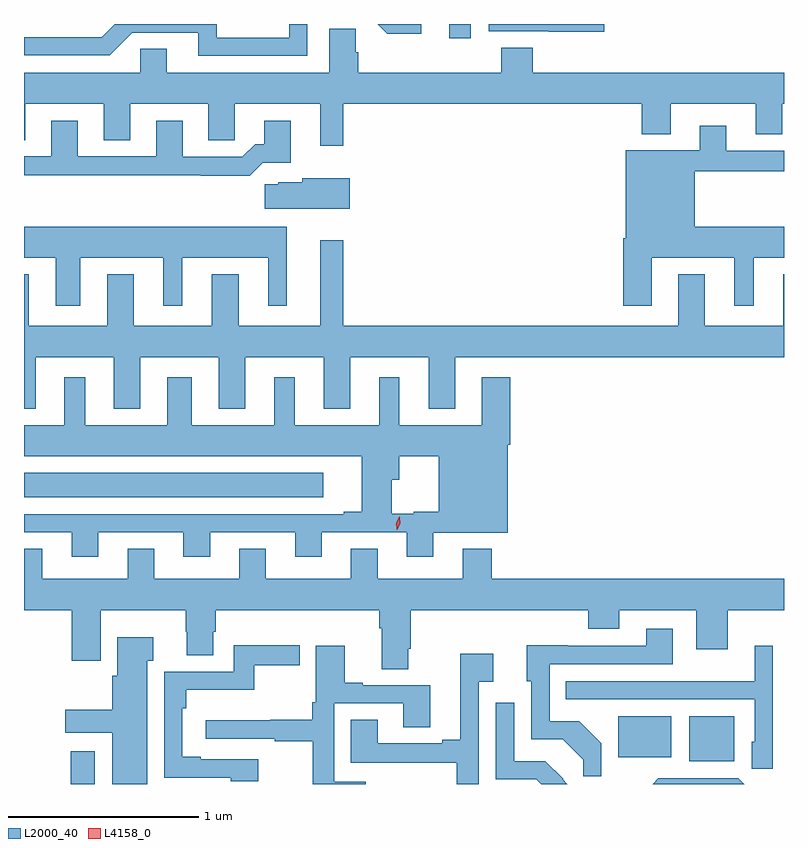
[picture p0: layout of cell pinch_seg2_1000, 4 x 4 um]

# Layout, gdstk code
import gdstk
lib = gdstk.Library(unit=1e-6, precision=1e-09)
def R(c, l, rs):  # rectangles x0, y0, x1, y1
    for r in rs: c.add(gdstk.rectangle(r[:2], r[2:], *l))
def P(c, l, *ps):  # polygons
    for p in ps: c.add(gdstk.Polygon(p, *l))
L2000_40 = (2000, 40)
L4158_0 = (4158, 0)

pinch_seg2_1000 = lib.new_cell('pinch_seg2_1000')
R(pinch_seg2_1000, L2000_40, [(338.525,610.757,338.653,610.93), (341.78,610.877,342.019,611.113), (341.408,610.898,341.686,611.113), (338.28,612.266,339.856,612.394), (340.517,614.682,340.632,614.757)])
P(pinch_seg2_1000, L2000_40, [(339.771,614.757),(339.675,614.757),(339.675,614.685),(339.294,614.685),(339.294,614.757),(338.757,614.757),(338.688,614.688),(338.28,614.688),(338.28,614.592),(338.73,614.592),(338.85,614.712),(339.197,614.712),(339.197,614.589),(339.771,614.589)],
  [(341.333,614.757),(340.725,614.757),(340.725,614.718),(341.041,614.718),(341.041,614.717),(341.333,614.717)],
  [(340.372,614.757),(340.141,614.757),(340.193,614.705),(340.372,614.705)],
  [(339.251,614.146),(339.39,614.146),(339.39,614.336),(339.839,614.336),(339.839,614.115),(339.961,614.115),(339.961,614.336),(341.531,614.336),(341.531,614.177),(341.683,614.177),(341.683,614.336),(342.131,614.336),(342.131,614.176),(342.271,614.176),(342.271,614.336),(342.28,614.336),(342.28,614.5),(340.958,614.5),(340.958,614.633),(340.793,614.633),(340.793,614.5),(340.04,614.5),(340.04,614.609),(340.026,614.609),(340.026,614.732),(339.887,614.732),(339.887,614.5),(339.031,614.5),(339.031,614.627),(338.892,614.627),(338.892,614.5),(338.28,614.5),(338.28,614.146),(338.287,614.146),(338.287,614.336),(338.699,614.336),(338.699,614.146),(338.839,614.146),(338.839,614.336),(339.251,614.336)],
  [(339.537,614.028),(339.685,614.028),(339.685,614.248),(339.545,614.248),(339.545,614.125),(339.496,614.125),(339.429,614.058),(339.115,614.058),(339.115,614.248),(338.975,614.248),(338.975,614.061),(338.563,614.061),(338.563,614.248),(338.423,614.248),(338.423,614.061),(338.28,614.061),(338.28,613.96),(339.211,613.96),(339.211,613.958),(339.467,613.958)],
  [(341.584,613.526),(342.017,613.526),(342.017,613.275),(342.121,613.275),(342.121,613.526),(342.28,613.526),(342.28,613.69),(341.809,613.69),(341.809,613.983),(342.28,613.983),(342.28,614.091),(341.977,614.091),(341.977,614.221),(341.837,614.221),(341.837,614.092),(341.447,614.092),(341.447,613.63),(341.435,613.63),(341.435,613.275),(341.584,613.275)],
  [(339.994,613.945),(339.744,613.945),(339.744,613.924),(339.618,613.924),(339.618,613.913),(339.546,613.913),(339.546,613.784),(339.994,613.784)],
  [(338.575,613.526),(339.014,613.526),(339.014,613.275),(339.112,613.275),(339.112,613.526),(339.566,613.526),(339.566,613.275),(339.664,613.275),(339.664,613.69),(338.28,613.69),(338.28,613.526),(338.447,613.526),(338.447,613.275),(338.575,613.275)],
  [(338.341,613.004),(338.753,613.004),(338.753,612.731),(338.893,612.731),(338.893,613.004),(339.305,613.004),(339.305,612.731),(339.445,612.731),(339.445,613.004),(339.857,613.004),(339.857,612.731),(339.997,612.731),(339.997,613.004),(340.409,613.004),(340.409,612.731),(340.549,612.731),(340.549,613.004),(342.28,613.004),(342.28,613.441),(342.275,613.441),(342.275,613.168),(341.863,613.168),(341.863,613.441),(341.723,613.441),(341.723,613.168),(339.961,613.168),(339.961,613.618),(339.839,613.618),(339.839,613.168),(339.409,613.168),(339.409,613.441),(339.269,613.441),(339.269,613.168),(338.857,613.168),(338.857,613.441),(338.717,613.441),(338.717,613.168),(338.305,613.168),(338.305,613.441),(338.28,613.441),(338.28,612.731),(338.341,612.731)],
  [(338.28,612.177),(338.28,612.081),(338.531,612.081),(338.531,611.952),(338.671,611.952),(338.671,612.081),(339.119,612.081),(339.119,611.952),(339.259,611.952),(339.259,612.081),(339.707,612.081),(339.707,611.952),(339.847,611.952),(339.847,612.081),(340.295,612.081),(340.295,611.952),(340.435,611.952),(340.435,612.08),(340.825,612.08),(340.825,612.542),(340.838,612.542),(340.838,612.898),(340.688,612.898),(340.688,612.646),(340.255,612.646),(340.255,612.898),(340.151,612.898),(340.151,612.646),(339.706,612.646),(339.706,612.898),(339.596,612.898),(339.596,612.646),(339.163,612.646),(339.163,612.898),(339.035,612.898),(339.035,612.646),(338.602,612.646),(338.602,612.898),(338.492,612.898),(338.492,612.646),(338.28,612.646),(338.28,612.482),(340.058,612.482),(340.058,612.19),(339.962,612.19),(339.962,612.179),(340.216,612.179),(340.216,612.359),(340.255,612.359),(340.255,612.482),(340.463,612.482),(340.463,612.19),(340.331,612.19),(340.331,612.179),(340.216,612.179),(339.962,612.179),(339.962,612.177)],
  [(340.303,611.47),(340.316,611.47),(340.316,611.672),(341.249,611.672),(341.249,611.573),(341.413,611.573),(341.413,611.672),(341.819,611.672),(341.819,611.466),(341.983,611.466),(341.983,611.672),(342.28,611.672),(342.28,611.836),(340.742,611.836),(340.742,611.995),(340.589,611.995),(340.589,611.836),(340.141,611.836),(340.141,611.996),(340.001,611.996),(340.001,611.836),(339.553,611.836),(339.553,611.996),(339.413,611.996),(339.413,611.836),(338.965,611.836),(338.965,611.996),(338.825,611.996),(338.825,611.836),(338.377,611.836),(338.377,611.996),(338.28,611.996),(338.28,611.672),(338.531,611.672),(338.531,611.406),(338.683,611.406),(338.683,611.672),(339.13,611.672),(339.13,611.559),(339.137,611.559),(339.137,611.434),(339.277,611.434),(339.277,611.559),(339.29,611.559),(339.29,611.672),(340.151,611.672),(340.151,611.576),(340.163,611.576),(340.163,611.362),(340.303,611.362)],
  [(341.319,610.972),(341.203,611.088),(341.046,611.088),(341.046,611.388),(341.695,611.388),(341.695,611.575),(341.555,611.575),(341.555,611.484),(341.143,611.484),(341.143,611.486),(340.925,611.486),(340.925,611.298),(340.95,611.298),(340.95,610.992),(341.116,610.992),(341.224,610.884),(341.224,610.797),(341.319,610.797)],
  [(338.929,611.405),(338.959,611.405),(338.959,611.53),(338.771,611.53),(338.771,611.328),(338.744,611.328),(338.744,611.149),(338.496,611.149),(338.496,611.027),(338.744,611.027),(338.744,610.757),(338.929,610.757)],
  [(339.514,610.887),(339.211,610.887),(339.211,610.9),(339.114,610.9),(339.114,611.156),(339.134,611.156),(339.134,611.252),(339.493,611.252),(339.493,611.383),(339.73,611.383),(339.73,611.486),(339.384,611.486),(339.384,611.349),(339.018,611.349),(339.018,610.791),(339.369,610.791),(339.369,610.772),(339.514,610.772)],
  [(340.078,610.77),(339.912,610.77),(339.912,611.181),(340.277,611.181),(340.277,611.056),(340.417,611.056),(340.417,611.277),(340.063,611.277),(340.063,611.29),(339.967,611.29),(339.967,611.485),(339.816,611.485),(339.816,611.188),(339.796,611.188),(339.796,611.096),(339.577,611.096),(339.577,611.092),(339.237,611.092),(339.237,610.995),(339.601,610.995),(339.601,610.983),(339.801,610.983),(339.801,610.757),(340.078,610.757)],
  [(342.222,611.485),(342.125,611.485),(342.125,611.299),(341.791,611.299),(341.791,611.298),(341.131,611.298),(341.131,611.202),(342.126,611.202),(342.126,610.98),(342.11,610.98),(342.11,610.837),(342.222,610.837)],
  [(340.674,611.294),(340.75,611.294),(340.75,611.443),(340.577,611.443),(340.577,610.991),(340.481,610.991),(340.481,610.971),(340.141,610.971),(340.141,611.096),(340.001,611.096),(340.001,610.87),(340.558,610.87),(340.558,610.757),(340.674,610.757)],
  [(341.115,610.782),(341.117,610.784),(341.023,610.878),(340.86,610.878),(340.86,611.185),(340.764,611.185),(340.764,610.782),(340.977,610.782),(341.002,610.757),(341.14,610.757)],
  [(342.039,610.788),(341.619,610.788),(341.588,610.757),(342.07,610.757)])
P(pinch_seg2_1000, L4158_0, [(340.243,612.096),(340.243,612.096),(340.24,612.132),(340.256,612.164),(340.256,612.164),(340.257,612.164),(340.26,612.128),(340.244,612.096)])

lib.write_gds('pinch_seg2_1000.gds')
